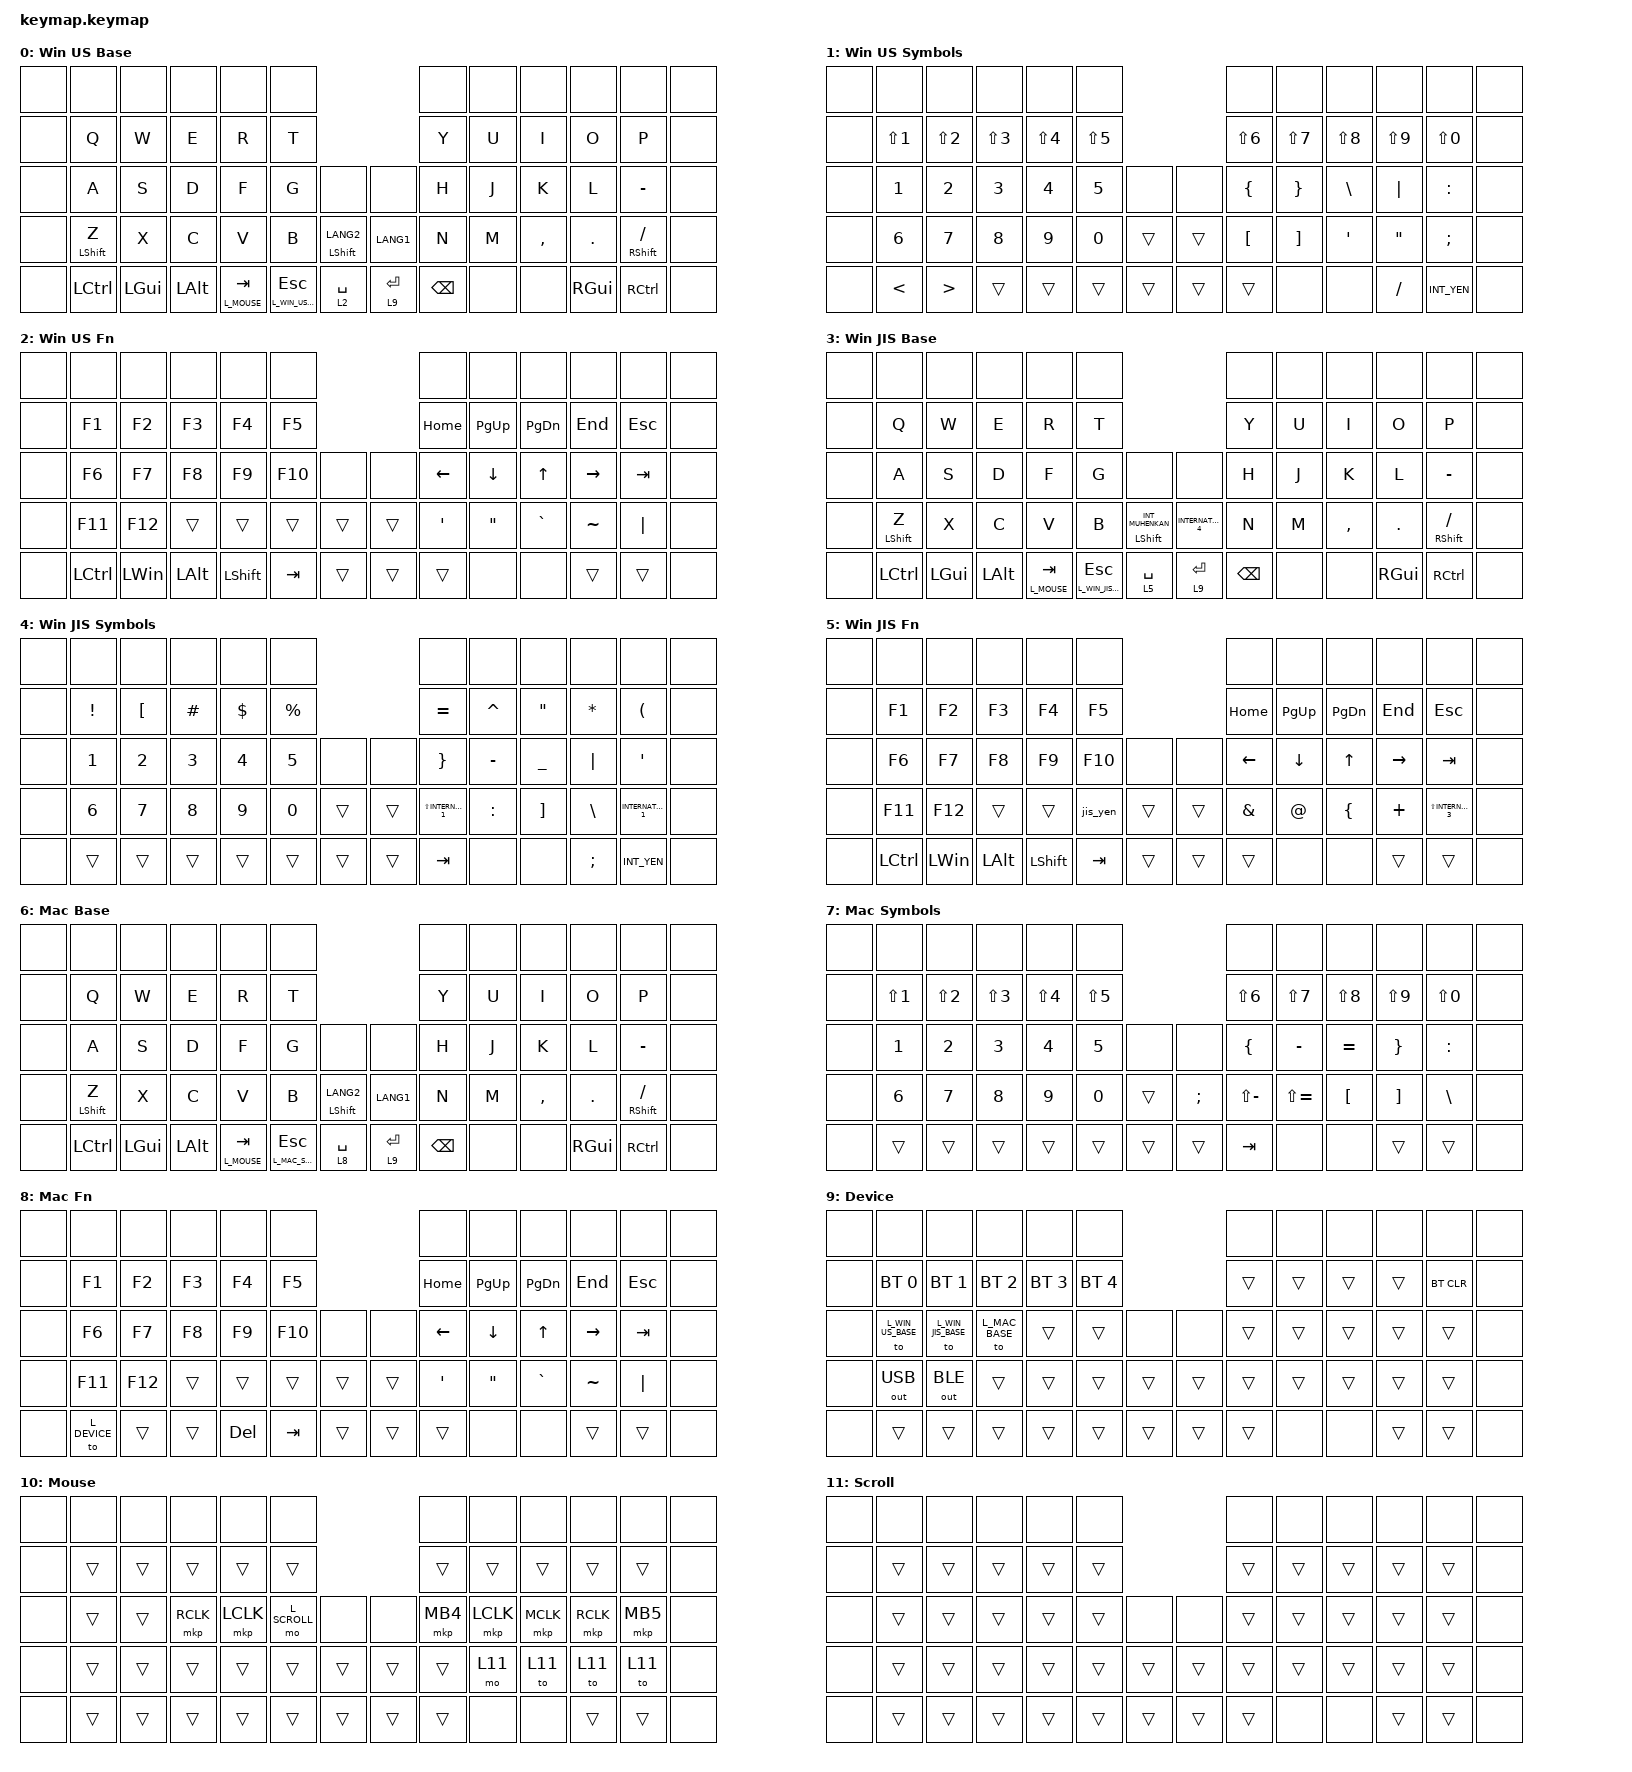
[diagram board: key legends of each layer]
#include <dt-bindings/zmk/modifiers.h>
#include <behaviors.dtsi>
#include <dt-bindings/zmk/bt.h>
#include <dt-bindings/zmk/keys.h>
#include <dt-bindings/zmk/outputs.h>
#include <dt-bindings/zmk/pointing.h>

#define L_WIN_US_BASE     0
#define L_WIN_US_SYMBOLS  1
#define L_WIN_US_FN       2
#define L_WIN_JIS_BASE    3
#define L_WIN_JIS_SYMBOLS 4
#define L_WIN_JIS_FN      5
#define L_MAC_BASE        6
#define L_MAC_SYMBOLS     7
#define L_MAC_FN          8
#define L_DEVICE          9
#define L_MOUSE          10
#define L_SCROLL         11

/ {
    behaviors {
        jis_semi_colon: jis_semi_colon {
            compatible = "zmk,behavior-mod-morph";
            #binding-cells = <0>;
            display-name = "JIS ; / :";
            bindings = <&kp SEMI>, <&kp SINGLE_QUOTE>;

            mods = <(MOD_LSFT | MOD_RSFT)>;
        };
    };

    macros {
        jis_yen: jis_yen {
            compatible = "zmk,behavior-macro";
            #binding-cells = <0>;
            display-name = "JIS Yen";
            bindings = <&kp INT_YEN>;
        };
    };

    keymap {
        compatible = "zmk,keymap";

        win_us_base {
            display-name = "Win US Base";
            bindings = <
&none  &none             &none     &none     &none            &none                                                           &none          &none  &none      &none     &none                 &none
&none  &kp Q             &kp W     &kp E     &kp R            &kp T                                                           &kp Y          &kp U  &kp I      &kp O     &kp P                 &none
&none  &kp A             &kp S     &kp D     &kp F            &kp G                        &none                 &none        &kp H          &kp J  &kp K      &kp L     &kp MINUS             &none
&none  &mt LEFT_SHIFT Z  &kp X     &kp C     &kp V            &kp B                        &mt LEFT_SHIFT LANG2  &kp LANG1    &kp N          &kp M  &kp COMMA  &kp DOT   &mt RIGHT_SHIFT FSLH  &none
&none  &kp LCTRL         &kp LGUI  &kp LALT  &lt L_MOUSE TAB  &lt L_WIN_US_SYMBOLS ESCAPE  &lt 2 SPACE           &lt 9 ENTER  &kp BACKSPACE  &none  &none      &kp RGUI  &kp RCTRL             &none
            >;
        };

        win_us_symbols {
            display-name = "Win US Symbols";
            bindings = <
&none  &none             &none             &none       &none       &none                       &none             &none              &none           &none              &none          &none
&none  &kp LS(NUMBER_1)  &kp LS(NUMBER_2)  &kp LS(N3)  &kp LS(N4)  &kp LS(N5)                  &kp LS(N6)        &kp LS(N7)         &kp LS(N8)      &kp LS(N9)         &kp LS(N0)     &none
&none  &kp N1            &kp N2            &kp N3      &kp N4      &kp N5      &none   &none   &kp LEFT_BRACE    &kp RIGHT_BRACE    &kp BACKSLASH   &kp PIPE           &kp COLON      &none
&none  &kp N6            &kp N7            &kp N8      &kp N9      &kp N0      &trans  &trans  &kp LEFT_BRACKET  &kp RIGHT_BRACKET  &kp APOSTROPHE  &kp DOUBLE_QUOTES  &kp SEMICOLON  &none
&none  &kp LESS_THAN     &kp GREATER_THAN  &trans      &trans      &trans      &trans  &trans  &trans            &none              &none           &kp SLASH          &kp INT_YEN    &none
            >;
        };

        win_us_fn {
            display-name = "Win US Fn";
            bindings = <
&none  &none             &none         &none         &none           &none                    &none             &none      &none          &none      &none       &none
&none  &kp F1            &kp F2        &kp F3        &kp F4          &kp F5                   &kp HOME          &kp PG_UP  &kp PAGE_DOWN  &kp END    &kp ESCAPE  &none
&none  &kp F6            &kp F7        &kp F8        &kp F9          &kp F10  &none   &none   &kp LEFT          &kp DOWN   &kp UP_ARROW   &kp RIGHT  &kp TAB     &none
&none  &kp F11           &kp F12       &trans        &trans          &trans   &trans  &trans  &kp SINGLE_QUOTE  &kp DQT    &kp GRAVE      &kp TILDE  &kp PIPE    &none
&none  &kp LEFT_CONTROL  &kp LEFT_WIN  &kp LEFT_ALT  &kp LEFT_SHIFT  &kp TAB  &trans  &trans  &trans            &none      &none          &trans     &trans      &none
            >;
        };

        win_jis_base {
            display-name = "Win JIS Base";
            bindings = <
&none  &none             &none     &none     &none            &none                                                                           &none          &none  &none      &none     &none                 &none
&none  &kp Q             &kp W     &kp E     &kp R            &kp T                                                                           &kp Y          &kp U  &kp I      &kp O     &kp P                 &none
&none  &kp A             &kp S     &kp D     &kp F            &kp G                         &none                        &none                &kp H          &kp J  &kp K      &kp L     &kp MINUS             &none
&none  &mt LEFT_SHIFT Z  &kp X     &kp C     &kp V            &kp B                         &mt LEFT_SHIFT INT_MUHENKAN  &kp INTERNATIONAL_4  &kp N          &kp M  &kp COMMA  &kp DOT   &mt RIGHT_SHIFT FSLH  &none
&none  &kp LCTRL         &kp LGUI  &kp LALT  &lt L_MOUSE TAB  &lt L_WIN_JIS_SYMBOLS ESCAPE  &lt 5 SPACE                  &lt 9 ENTER          &kp BACKSPACE  &none  &none      &kp RGUI  &kp RCTRL             &none
            >;
        };

        win_jis_symbols {
            display-name = "Win JIS Symbols";
            bindings = <
&none  &none            &none             &none     &none       &none                        &none                    &none      &none              &none          &none                 &none
&none  &kp EXCLAMATION  &kp LEFT_BRACKET  &kp HASH  &kp DOLLAR  &kp PERCENT                  &kp EQUAL                &kp CARET  &kp DOUBLE_QUOTES  &kp ASTERISK   &kp LEFT_PARENTHESIS  &none
&none  &kp N1           &kp N2            &kp N3    &kp N4      &kp N5       &none   &none   &kp RIGHT_BRACE          &kp MINUS  &kp UNDER          &kp PIPE       &kp SINGLE_QUOTE      &none
&none  &kp N6           &kp N7            &kp N8    &kp N9      &kp N0       &trans  &trans  &kp LS(INTERNATIONAL_1)  &kp COLON  &kp RIGHT_BRACKET  &kp BACKSLASH  &kp INTERNATIONAL_1   &none
&none  &trans           &trans            &trans    &trans      &trans       &trans  &trans  &kp TAB                  &none      &none              &kp SEMICOLON  &kp INT_YEN           &none
            >;
        };

        win_jis_fn {
            display-name = "Win JIS Fn";
            bindings = <
&none  &none             &none         &none         &none           &none                     &none          &none      &none           &none      &none                    &none
&none  &kp F1            &kp F2        &kp F3        &kp F4          &kp F5                    &kp HOME       &kp PG_UP  &kp PAGE_DOWN   &kp END    &kp ESCAPE               &none
&none  &kp F6            &kp F7        &kp F8        &kp F9          &kp F10   &none   &none   &kp LEFT       &kp DOWN   &kp UP_ARROW    &kp RIGHT  &kp TAB                  &none
&none  &kp F11           &kp F12       &trans        &trans          &jis_yen  &trans  &trans  &kp AMPERSAND  &kp AT     &kp LEFT_BRACE  &kp PLUS   &kp LS(INTERNATIONAL_3)  &none
&none  &kp LEFT_CONTROL  &kp LEFT_WIN  &kp LEFT_ALT  &kp LEFT_SHIFT  &kp TAB   &trans  &trans  &trans         &none      &none           &trans     &trans                   &none
            >;
        };

        mac_base {
            display-name = "Mac Base";
            bindings = <
&none  &none             &none     &none     &none            &none                                                        &none          &none  &none      &none     &none                 &none
&none  &kp Q             &kp W     &kp E     &kp R            &kp T                                                        &kp Y          &kp U  &kp I      &kp O     &kp P                 &none
&none  &kp A             &kp S     &kp D     &kp F            &kp G                     &none                 &none        &kp H          &kp J  &kp K      &kp L     &kp MINUS             &none
&none  &mt LEFT_SHIFT Z  &kp X     &kp C     &kp V            &kp B                     &mt LEFT_SHIFT LANG2  &kp LANG1    &kp N          &kp M  &kp COMMA  &kp DOT   &mt RIGHT_SHIFT FSLH  &none
&none  &kp LCTRL         &kp LGUI  &kp LALT  &lt L_MOUSE TAB  &lt L_MAC_SYMBOLS ESCAPE  &lt 8 SPACE           &lt 9 ENTER  &kp BACKSPACE  &none  &none      &kp RGUI  &kp RCTRL             &none
            >;
        };

        mac_symbols {
            display-name = "Mac Symbols";
            bindings = <
&none  &none             &none             &none       &none       &none                              &none           &none          &none             &none              &none          &none
&none  &kp LS(NUMBER_1)  &kp LS(NUMBER_2)  &kp LS(N3)  &kp LS(N4)  &kp LS(N5)                         &kp LS(N6)      &kp LS(N7)     &kp LS(N8)        &kp LS(N9)         &kp LS(N0)     &none
&none  &kp N1            &kp N2            &kp N3      &kp N4      &kp N5      &none   &none          &kp LEFT_BRACE  &kp MINUS      &kp EQUAL         &kp RIGHT_BRACE    &kp COLON      &none
&none  &kp N6            &kp N7            &kp N8      &kp N9      &kp N0      &trans  &kp SEMICOLON  &kp LS(MINUS)   &kp LS(EQUAL)  &kp LEFT_BRACKET  &kp RIGHT_BRACKET  &kp BACKSLASH  &none
&none  &trans            &trans            &trans      &trans      &trans      &trans  &trans         &kp TAB         &none          &none             &trans             &trans         &none
            >;
        };

        mac_fn {
            display-name = "Mac Fn";
            bindings = <
&none  &none         &none    &none   &none       &none                    &none             &none      &none          &none      &none       &none
&none  &kp F1        &kp F2   &kp F3  &kp F4      &kp F5                   &kp HOME          &kp PG_UP  &kp PAGE_DOWN  &kp END    &kp ESCAPE  &none
&none  &kp F6        &kp F7   &kp F8  &kp F9      &kp F10  &none   &none   &kp LEFT          &kp DOWN   &kp UP_ARROW   &kp RIGHT  &kp TAB     &none
&none  &kp F11       &kp F12  &trans  &trans      &trans   &trans  &trans  &kp SINGLE_QUOTE  &kp DQT    &kp GRAVE      &kp TILDE  &kp PIPE    &none
&none  &to L_DEVICE  &trans   &trans  &kp DELETE  &kp TAB  &trans  &trans  &trans            &none      &none          &trans     &trans      &none
            >;
        };

        device {
            display-name = "Device";
            bindings = <
&none  &none              &none               &none           &none         &none                         &none   &none   &none   &none   &none       &none
&none  &bt BT_SEL 0       &bt BT_SEL 1        &bt BT_SEL 2    &bt BT_SEL 3  &bt BT_SEL 4                  &trans  &trans  &trans  &trans  &bt BT_CLR  &none
&none  &to L_WIN_US_BASE  &to L_WIN_JIS_BASE  &to L_MAC_BASE  &trans        &trans        &none   &none   &trans  &trans  &trans  &trans  &trans      &none
&none  &out OUT_USB       &out OUT_BLE        &trans          &trans        &trans        &trans  &trans  &trans  &trans  &trans  &trans  &trans      &none
&none  &trans             &trans              &trans          &trans        &trans        &trans  &trans  &trans  &none   &none   &trans  &trans      &none
            >;
        };

        mouse {
            display-name = "Mouse";
            bindings = <
&none  &none   &none   &none      &none      &none                         &none     &none      &none      &none      &none     &none
&none  &trans  &trans  &trans     &trans     &trans                        &trans    &trans     &trans     &trans     &trans    &none
&none  &trans  &trans  &mkp RCLK  &mkp LCLK  &mo L_SCROLL  &none   &none   &mkp MB4  &mkp LCLK  &mkp MCLK  &mkp RCLK  &mkp MB5  &none
&none  &trans  &trans  &trans     &trans     &trans        &trans  &trans  &trans    &mo 11     &to 11     &to 11     &to 11    &none
&none  &trans  &trans  &trans     &trans     &trans        &trans  &trans  &trans    &none      &none      &trans     &trans    &none
            >;
        };

        scroll {
            display-name = "Scroll";
            bindings = <
&none  &none   &none   &none   &none   &none                   &none   &none   &none   &none   &none   &none
&none  &trans  &trans  &trans  &trans  &trans                  &trans  &trans  &trans  &trans  &trans  &none
&none  &trans  &trans  &trans  &trans  &trans  &none   &none   &trans  &trans  &trans  &trans  &trans  &none
&none  &trans  &trans  &trans  &trans  &trans  &trans  &trans  &trans  &trans  &trans  &trans  &trans  &none
&none  &trans  &trans  &trans  &trans  &trans  &trans  &trans  &trans  &none   &none   &trans  &trans  &none
            >;
        };
    };
};
